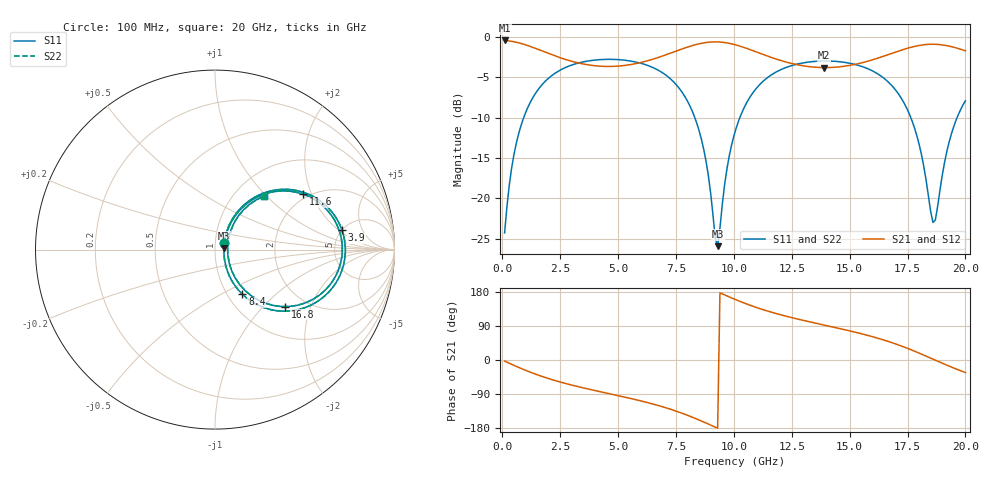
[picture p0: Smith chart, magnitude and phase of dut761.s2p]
! Touchstone file exported from HFSS 2026.1.0
!  File:  C:/ffzhzh/LocalFiles/Ansys_Project_Files/temp_train_TSV_RDL_761_1783259975_38820.aedt
!  Generated:  10:15:50 PM Jul  5, 2026
!  Design:  TSV_RDL
!  Project:  temp_train_TSV_RDL_761_1783259975_38820
! Variables:
!  h_bsmrdl = 4.31um
!  h_ox = 20um
!  h_rdl = 5um
!  h_sub = 52.05um
!  h_tmrdl = 4.68um
!  h_tsv = 52.05um
!  h_via = 3um
!  l_bsmrdl = 857.82um
!  l_sub = 7006.57um
!  l_tmrdl = 989.88um
!  m_sub = 200um
!  pitch = 56.23um
!  r_tsv = 2.14um
!  s_tmrdl = 10um
!  w_bsmrdl = 12.93um
!  w_sub = 500um
!  w_tmrdl = 11.6um
!  x_tsv_center1 = 995.68um
!  x_tsv_center2 = 1866.43um
!  x_tsv_center3 = 2867.91um
!  x_tsv_center4 = 3738.66um
!  x_tsv_center5 = 4740.14um
!  x_tsv_center6 = 5610.89um
# GHz S MA R 50.000000
! Terminal data exported
! Port[1] = TM_RDL1_1_T1
! Port[2] = TM_RDL5_1_T1
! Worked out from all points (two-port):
!   200 points, 100 MHz to 20 GHz, reference 50 ohm
!   highest |S21| = -0.44 dB at 100 MHz (marker M1); lowest = -3.8 dB at 13.9 GHz (marker M2)
!   |S21| within 3 dB of the highest: 5.526 GHz to 12.72 GHz (7.198 GHz wide, 78.9 % of centre); 15.18 GHz to end of sweep (the widest 2 of 3)
!   lowest |S11| = -25.9 dB at 9.3 GHz (marker M3), VSWR 1.11, Z = 55.3 + j0.742 ohm
!   |S11| at or under -10 dB: start of sweep to 925.8 MHz; 8.313 GHz to 10.26 GHz (1.948 GHz wide, 21 % of centre); 17.64 GHz to 19.64 GHz (2.002 GHz wide, 10.7 % of centre)
!   |S22| runs from -26.1 to -2.8 dB; largest |S21 - S12| = 2.1e-14
!   S11 on the Smith chart (normalised r, x): 100 MHz: 1.10, +0.08; 3.9 GHz: 5.03, +2.22; 8.4 GHz: 1.17, -0.64; 11.6 GHz: 1.87, +1.74; 16.8 GHz: 1.58, -1.34; 20 GHz: 1.35, +0.96
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0.1  0.06095 34.6  0.9509 -2.9  0.9509 -2.9  0.06095 34.6
! Gamma 0 0 0 0
! Port Impedance 50 0 50 0
0.5  0.1854 60.4  0.9341 -14.0  0.9341 -14.0  0.1854 60.4
1.1  0.3648 52.9  0.8839 -29.5  0.8839 -29.5  0.3648 52.9
2.1  0.5705 34.9  0.7798 -50.9  0.7798 -50.9  0.5705 34.9
3.5  0.7004 13.9  0.6794 -73.6  0.6794 -73.6  0.7005 13.9
3.9  0.7159 8.6  0.6653 -79.2  0.6653 -79.2  0.7159 8.6
5.4  0.7139 -10.4  0.6689 -99.5  0.6689 -99.5  0.7139 -10.5
6.8  0.6142 -30.5  0.7511 -121.2  0.7511 -121.2  0.6142 -30.5
8.4  0.2915 -58.5  0.8996 -155.8  0.8996 -155.8  0.2914 -58.6
8.8  0.1693 -61.4  0.9234 -166.3  0.9234 -166.3  0.1691 -61.6
9.3  0.05042 7.6  0.9313 -180.0  0.9313 -180.0  0.04972 7.7
9.7  0.1515 58.7  0.9184 169.1  0.9184 169.1  0.1512 59.0
10.1  0.2718 57.3  0.891 158.7  0.891 158.7  0.2716 57.5
11.6  0.5792 32.2  0.748 126.5  0.748 126.5  0.5791 32.3
13.4  0.703 7.3  0.6511 99.0  0.6511 99.0  0.7029 7.3
13.9  0.7092 1.1  0.6457 92.2  0.6457 92.2  0.7091 1.1
16.7  0.5203 -37.5  0.7797 48.4  0.7797 48.4  0.5203 -37.4
16.8  0.5031 -39.2  0.7887 46.4  0.7887 46.4  0.5031 -39.1
17.9  0.2451 -54.7  0.8797 20.8  0.8797 20.8  0.2454 -54.4
18.6  0.07073 -8.1  0.9012 2.3  0.9012 2.3  0.07206 -7.9
19.3  0.2237 55.3  0.8769 -16.3  0.8769 -16.3  0.2242 54.9
20  0.4018 47.6  0.8207 -33.1  0.8207 -33.1  0.4021 47.4
